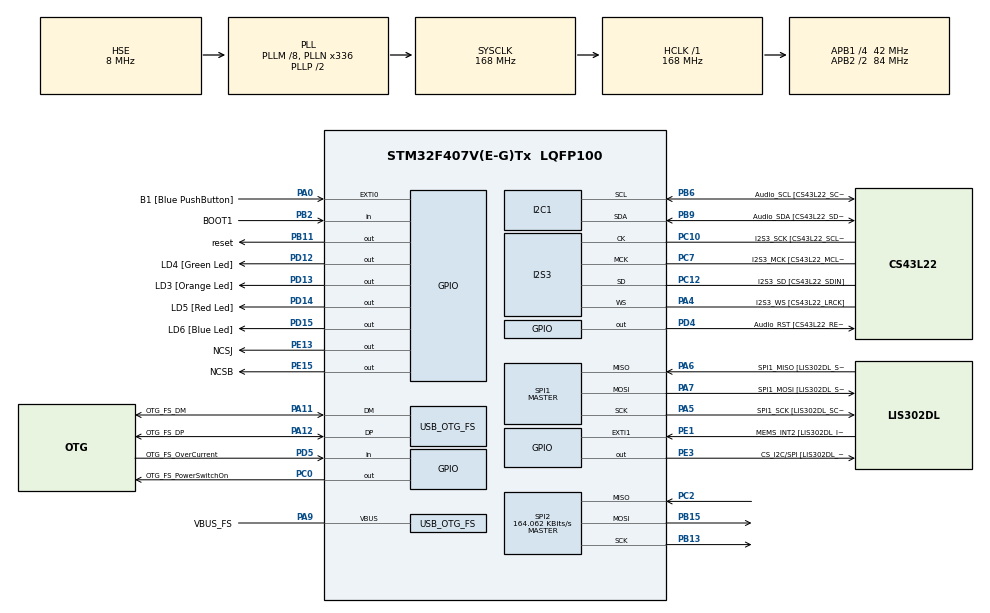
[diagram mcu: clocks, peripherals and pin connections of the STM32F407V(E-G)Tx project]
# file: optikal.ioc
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I2S3.AudioFreq-Half_Duplex_Master=I2S_AUDIOFREQ_96K
I2S3.ErrorAudioFreq=-2.34 %
I2S3.ErrorAudioFreq-Half_Duplex_Master=0.8 %
I2S3.FullDuplexMode=I2S_FULLDUPLEXMODE_DISABLE
I2S3.Instance=SPI$Index
I2S3.RealAudioFreq=93.75 KHz
I2S3.RealAudioFreq-Half_Duplex_Master=96.774 KHz
I2S3.VirtualMode=I2S_MODE_MASTER
Mcu.Family=STM32F4
Mcu.Name=STM32F407V(E-G)Tx
Mcu.Package=LQFP100
NVIC.OTG_FS_IRQn=true\:0\:0\:false\:false\:true\:true\:true
NVIC.PriorityGroup=NVIC_PRIORITYGROUP_0
PA0-WKUP.GPIO_Label=B1 [Blue PushButton]
PA0-WKUP.GPIO_ModeDefaultEXTI=GPIO_MODE_EVT_RISING
PA0-WKUP.GPIO_PuPd=GPIO_NOPULL
PA0-WKUP.Signal=GPXTI0
PA10.GPIO_Label=OTG_FS_ID
PA10.GPIO_Mode=GPIO_MODE_AF_PP
PA10.GPIO_PuPd=GPIO_NOPULL
PA10.GPIO_Speed=GPIO_SPEED_FREQ_LOW
PA10.Signal=USB_OTG_FS_ID
PA11.GPIO_Label=OTG_FS_DM
PA11.GPIO_Mode=GPIO_MODE_AF_PP
PA11.GPIO_PuPd=GPIO_NOPULL
PA11.GPIO_Speed=GPIO_SPEED_FREQ_LOW
PA11.Mode=Host_Only
PA11.Signal=USB_OTG_FS_DM
PA12.GPIO_Label=OTG_FS_DP
PA12.GPIO_Mode=GPIO_MODE_AF_PP
PA12.GPIO_PuPd=GPIO_NOPULL
PA12.GPIO_Speed=GPIO_SPEED_FREQ_LOW
PA12.Mode=Host_Only
PA12.Signal=USB_OTG_FS_DP
PA13.GPIO_Label=SWDIO
PA13.Mode=Serial_Wire
PA13.Signal=SYS_JTMS-SWDIO
PA14.GPIO_Label=SWCLK
PA14.Mode=Serial_Wire
PA14.Signal=SYS_JTCK-SWCLK
PA4.GPIO_Label=I2S3_WS [CS43L22_LRCK]
PA4.GPIO_Mode=GPIO_MODE_AF_PP
PA4.GPIO_PuPd=GPIO_NOPULL
PA4.GPIO_Speed=GPIO_SPEED_FREQ_LOW
PA4.Mode=Half_Duplex_Master
PA4.Signal=I2S3_WS
PA5.GPIO_Label=SPI1_SCK [LIS302DL_SCL/SPC]
PA5.GPIO_Mode=GPIO_MODE_AF_PP
PA5.GPIO_PuPd=GPIO_NOPULL
PA5.GPIO_Speed=GPIO_SPEED_FREQ_LOW
PA5.Mode=Full_Duplex_Master
PA5.Signal=SPI1_SCK
PA6.GPIO_Label=SPI1_MISO [LIS302DL_SDO]
PA6.GPIO_Mode=GPIO_MODE_AF_PP
PA6.GPIO_PuPd=GPIO_NOPULL
PA6.GPIO_Speed=GPIO_SPEED_FREQ_LOW
PA6.Mode=Full_Duplex_Master
PA6.Signal=SPI1_MISO
PA7.GPIO_Label=SPI1_MOSI [LIS302DL_SDA/SDI/SDO]
PA7.GPIO_Mode=GPIO_MODE_AF_PP
PA7.GPIO_PuPd=GPIO_NOPULL
PA7.GPIO_Speed=GPIO_SPEED_FREQ_LOW
PA7.Mode=Full_Duplex_Master
PA7.Signal=SPI1_MOSI
PA9.GPIO_Label=VBUS_FS
PA9.GPIO_Mode=GPIO_MODE_INPUT
PA9.GPIO_PuPd=GPIO_NOPULL
PA9.Mode=Activate_VBUS
PA9.Signal=USB_OTG_FS_VBUS
PB10.GPIO_Label=CLK_IN [MP45DT02_CLK]
PB10.GPIO_Mode=GPIO_MODE_AF_PP
PB10.GPIO_PuPd=GPIO_NOPULL
PB10.GPIO_Speed=GPIO_SPEED_FREQ_LOW
PB10.Signal=I2S2_CK
PB11.GPIO_Label=reset
PB11.Signal=GPIO_Output
PB13.GPIO_Speed=GPIO_SPEED_FREQ_LOW
PB13.Mode=Full_Duplex_Master
PB13.Signal=SPI2_SCK
PB15.GPIO_Speed=GPIO_SPEED_FREQ_LOW
PB15.Mode=Full_Duplex_Master
PB15.Signal=SPI2_MOSI
PB2.GPIO_Label=BOOT1
PB2.GPIO_Mode=GPIO_MODE_INPUT
PB2.GPIO_PuPd=GPIO_NOPULL
PB2.Signal=GPIO_Input
PB3.GPIO_Label=SWO
PB3.Signal=SYS_JTDO-SWO
PB6.GPIO_Label=Audio_SCL [CS43L22_SCL]
PB6.GPIO_Mode=GPIO_MODE_AF_OD
PB6.GPIO_PuPd=GPIO_NOPULL
PB6.GPIO_Speed=GPIO_SPEED_FREQ_LOW
PB6.Mode=I2C
PB6.Signal=I2C1_SCL
PB9.GPIO_Label=Audio_SDA [CS43L22_SDA]
PB9.GPIO_Mode=GPIO_MODE_AF_OD
PB9.GPIO_PuPd=GPIO_NOPULL
PB9.GPIO_Speed=GPIO_SPEED_FREQ_LOW
PB9.Mode=I2C
PB9.Signal=I2C1_SDA
PC0.GPIO_Label=OTG_FS_PowerSwitchOn
PC0.GPIO_PuPd=GPIO_NOPULL
PC0.GPIO_Speed=GPIO_SPEED_FREQ_LOW
PC0.PinState=GPIO_PIN_SET
PC0.Signal=GPIO_Output
PC10.GPIO_Label=I2S3_SCK [CS43L22_SCLK]
PC10.GPIO_Mode=GPIO_MODE_AF_PP
PC10.GPIO_PuPd=GPIO_NOPULL
PC10.GPIO_Speed=GPIO_SPEED_FREQ_LOW
PC10.Mode=Half_Duplex_Master
PC10.Signal=I2S3_CK
PC12.GPIO_Label=I2S3_SD [CS43L22_SDIN]
PC12.GPIO_Mode=GPIO_MODE_AF_PP
PC12.GPIO_PuPd=GPIO_NOPULL
PC12.GPIO_Speed=GPIO_SPEED_FREQ_LOW
PC12.Mode=Half_Duplex_Master
PC12.Signal=I2S3_SD
PC14-OSC32_IN.GPIO_Label=PC14-OSC32_IN
PC14-OSC32_IN.Mode=LSE-External-Oscillator
PC14-OSC32_IN.Signal=RCC_OSC32_IN
PC15-OSC32_OUT.GPIO_Label=PC15-OSC32_OUT
PC15-OSC32_OUT.Mode=LSE-External-Oscillator
PC15-OSC32_OUT.Signal=RCC_OSC32_OUT
PC2.GPIO_Speed=GPIO_SPEED_FREQ_LOW
PC2.Mode=Full_Duplex_Master
PC2.Signal=SPI2_MISO
PC3.GPIO_Label=PDM_OUT [MP45DT02_DOUT]
PC3.GPIO_Mode=GPIO_MODE_AF_PP
PC3.GPIO_PuPd=GPIO_NOPULL
PC3.GPIO_Speed=GPIO_SPEED_FREQ_LOW
PC3.Signal=I2S2_SD
PC7.GPIO_Label=I2S3_MCK [CS43L22_MCLK]
PC7.GPIO_Mode=GPIO_MODE_AF_PP
PC7.GPIO_PuPd=GPIO_NOPULL
PC7.GPIO_Speed=GPIO_SPEED_FREQ_LOW
PC7.Mode=Master_Clock_Activated
PC7.Signal=I2S3_MCK
PD12.GPIO_Label=LD4 [Green Led]
PD12.GPIO_PuPd=GPIO_NOPULL
PD12.GPIO_Speed=GPIO_SPEED_FREQ_LOW
PD12.Signal=GPIO_Output
PD13.GPIO_Label=LD3 [Orange Led]
PD13.GPIO_PuPd=GPIO_NOPULL
PD13.GPIO_Speed=GPIO_SPEED_FREQ_LOW
PD13.Signal=GPIO_Output
PD14.GPIO_Label=LD5 [Red Led]
PD14.GPIO_PuPd=GPIO_NOPULL
PD14.GPIO_Speed=GPIO_SPEED_FREQ_LOW
PD14.Signal=GPIO_Output
PD15.GPIO_Label=LD6 [Blue Led]
PD15.GPIO_PuPd=GPIO_NOPULL
PD15.GPIO_Speed=GPIO_SPEED_FREQ_LOW
PD15.Signal=GPIO_Output
PD4.GPIO_Label=Audio_RST [CS43L22_RESET]
PD4.GPIO_PuPd=GPIO_NOPULL
PD4.GPIO_Speed=GPIO_SPEED_FREQ_LOW
PD4.Signal=GPIO_Output
PD5.GPIO_Label=OTG_FS_OverCurrent
PD5.GPIO_Mode=GPIO_MODE_INPUT
PD5.GPIO_PuPd=GPIO_NOPULL
PD5.Signal=GPIO_Input
PE1.GPIO_Label=MEMS_INT2 [LIS302DL_INT2]
PE1.GPIO_ModeDefaultEXTI=GPIO_MODE_EVT_RISING
PE1.GPIO_PuPd=GPIO_NOPULL
PE1.Signal=GPXTI1
PE13.GPIO_Label=NCSJ
PE13.Signal=GPIO_Output
PE15.GPIO_Label=NCSB
PE15.Signal=GPIO_Output
PE3.GPIO_Label=CS_I2C/SPI [LIS302DL_CS_I2C/SPI]
PE3.GPIO_PuPd=GPIO_NOPULL
PE3.GPIO_Speed=GPIO_SPEED_FREQ_LOW
PE3.Signal=GPIO_Output
PH0-OSC_IN.GPIO_Label=PH0-OSC_IN
PH0-OSC_IN.Mode=HSE-External-Oscillator
PH0-OSC_IN.Signal=RCC_OSC_IN
PH1-OSC_OUT.GPIO_Label=PH1-OSC_OUT
PH1-OSC_OUT.Mode=HSE-External-Oscillator
PH1-OSC_OUT.Signal=RCC_OSC_OUT
ProjectManager.HeapSize=0x200
ProjectManager.StackSize=0x400
ProjectManager.TargetToolchain=SW4STM32
RCC.48MHZClocksFreq_Value=48000000
RCC.AHBFreq_Value=168000000
RCC.APB1CLKDivider=RCC_HCLK_DIV4
RCC.APB1Freq_Value=42000000
RCC.APB1TimFreq_Value=84000000
RCC.APB2CLKDivider=RCC_HCLK_DIV2
RCC.APB2Freq_Value=84000000
RCC.APB2TimFreq_Value=168000000
RCC.CortexFreq_Value=168000000
RCC.HCLKFreq_Value=168000000
RCC.HSE_VALUE=8000000
RCC.HSI_VALUE=16000000
RCC.PLLM=8
RCC.PLLN=336
RCC.PLLQ=7
RCC.SYSCLKFreq_VALUE=168000000
RCC.SYSCLKSource=RCC_SYSCLKSOURCE_PLLCLK
RCC.VCOOutputFreq_Value=336000000
SPI1.BaudRatePrescaler-Full_Duplex_Master=SPI_BAUDRATEPRESCALER_2
SPI1.CalculateBaudRate-Full_Duplex_Master=42.0 MBits/s
SPI1.Direction=SPI_DIRECTION_2LINES
SPI1.Mode=SPI_MODE_MASTER
SPI1.Mode-Full_Duplex_Master=SPI_MODE_MASTER
SPI1.VirtualType=VM_MASTER
SPI2.BaudRatePrescaler=SPI_BAUDRATEPRESCALER_256
SPI2.CalculateBaudRate=164.062 KBits/s
SPI2.Direction=SPI_DIRECTION_2LINES
SPI2.Mode=SPI_MODE_MASTER
SPI2.VirtualType=VM_MASTER
USB_HOST.BSP.number=1
USB_HOST.USBH_HandleTypeDef-CDC_FS=hUsbHostFS
USB_HOST.VirtualModeFS=Cdc
USB_HOST0.BSP.STBoard=false
USB_HOST0.BSP.api=Unknown
USB_HOST0.BSP.i2caddr=0
USB_HOST0.BSP.i2creg=0
USB_HOST0.BSP.instance=PC0
USB_HOST0.BSP.ip=GPIO
USB_HOST0.BSP.mode=Output
USB_HOST0.BSP.name=Drive_VBUS_FS
USB_HOST0.BSP.solution=PC0
USB_OTG_FS.VirtualMode=Host_Only
USB_OTG_FS.phy_itface=HCD_PHY_EMBEDDED
VP_USB_HOST_VS_USB_HOST_CDC_FS.Mode=CDC_FS
board=STM32F407G-DISC1

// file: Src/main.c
/* USER CODE BEGIN Header */
/**
  ******************************************************************************
  * @file           : main.c
  * @brief          : Main program body
  ******************************************************************************
  * @attention
  *
  * <h2><center>&copy; Copyright (c) 2019 STMicroelectronics.
  * All rights reserved.</center></h2>
  *
  * This software component is licensed by ST under Ultimate Liberty license
  * SLA0044, the "License"; You may not use this file except in compliance with
  * the License. You may obtain a copy of the License at:
  *                             www.st.com/SLA0044
  *
  ******************************************************************************
  */
/* USER CODE END Header */

#include "main.h"
#include "i2c.h"
#include "i2s.h"
#include "spi.h"
#include "usb_host.h"
#include "gpio.h"

/* USER CODE BEGIN Includes */
#include "ADNS3080.h"

uint8_t txdata[1]={0x00};/* ez nem kell*/
uint8_t rxdatab[7];       /*ebböl 2 kell*/
uint8_t rxdataj[7];
uint8_t txbuff[7]={ADNS3080_MOTION,ADNS3080_DELTA_X,ADNS3080_DELTA_Y,0x00,0x00,0x00,0x00};
uint8_t buff[7]={0x00,0x00,0x00,0x00,0x00,0x00,0x00};
uint8_t motion_burst[7];
volatile HAL_StatusTypeDef state;
int i=0;
float dX=0;
float dY=0;
float uart_txdata[2];
/*
uint8_t Rxdata[8];
uint8_t incr_X;
uint8_t incr_Y;

uint16_t CPI;
uint8_t uartTxBuffer[7];
*/
/* USER CODE BEGIN Includes */

/* USER CODE END Includes */

void SystemClock_Config(void);
void MX_USB_HOST_Process(void);

/* USER CODE BEGIN 0 */
/*
struct {
	float dx;
	float dy;

}uart_txdata;
*/
/* USER CODE END 0 */

int main(void)
{

  /* MCU Configuration--------------------------------------------------------*/

  /* Reset of all peripherals, Initializes the Flash interface and the Systick. */
  HAL_Init();

  /* Configure the system clock */
  SystemClock_Config();

  /* Initialize all configured peripherals */
  MX_GPIO_Init();
  MX_I2C1_Init();
  MX_I2S3_Init();
  MX_SPI1_Init();
  MX_USB_HOST_Init();
  MX_SPI2_Init();
  /* USER CODE BEGIN 2 */
  ADNS3080DownloadSROMB();
  HAL_Delay(5);
  ADNS3080DownloadSROMJ();
  /* USER CODE END 2 */

  /* Infinite loop */
  /* USER CODE BEGIN WHILE */
  while (1)
  {
        /*
		uartTxBuffer[0]=255;
		uartTxBuffer[1]=255;
		uartTxBuffer[2]=255;
		*/
        /*
	 //SROM uploaded
		HAL_GPIO_WritePin(GPIOE,GPIO_PIN_11,1); //LD7
//Motion burst
		HAL_GPIO_WritePin(ADNS3080_CS_PORT, ADNS3080_CS_PIN,0);
		my_delay();
		HAL_SPI_Transmit(&hspi2, txdata, 1, 10);
		my_delay();
		HAL_SPI_Receive(&hspi2, rxdata, 7, 10);
		my_delay();
		HAL_GPIO_WritePin(ADNS3080_CS_PORT, ADNS3080_CS_PIN,1);
		my_delay();

		ADNS3080MotionData.Motion=rxdata[0];
		ADNS3080MotionData.DeltaX=rxdata[1];
		ADNS3080MotionData.DeltaY=rxdata[2];
		ADNS3080MotionData.SQUAL=rxdata[3];
		ADNS3080MotionData.ShutterUpper=rxdata[4];
		ADNS3080MotionData.ShutterLower=rxdata[5];
		ADNS3080MotionData.MaximumPixel=rxdata[6];

		dX+=ADNS3080MotionData.DeltaX*0.0635;
		dY+=ADNS3080MotionData.DeltaY*0635;

		uart_txdata[0]=dX;
		uart_txdata[1]=dY;

		HAL_UART_Transmit(&huart2,uart_txdata,2,10);
        */
	      HAL_GPIO_WritePin(GPIOE,GPIO_PIN_15, GPIO_PIN_RESET);
	 	  HAL_Delay(5);
	 	  HAL_SPI_TransmitReceive(&hspi2, txbuff, rxdatab, 4, 10);
	 	  HAL_Delay(5);
	 	  HAL_GPIO_WritePin(GPIOE,GPIO_PIN_15, GPIO_PIN_SET);
	 	  HAL_Delay(10);
	 	  HAL_GPIO_WritePin(GPIOE,GPIO_PIN_13, GPIO_PIN_RESET);
	 	  HAL_Delay(5);
	 	  HAL_SPI_TransmitReceive(&hspi2, txbuff, rxdataj, 4, 10);
	 	  HAL_Delay(5);
	 	  HAL_GPIO_WritePin(GPIOE,GPIO_PIN_13, GPIO_PIN_SET);
	 	  HAL_Delay(10);
    /* USER CODE END WHILE */
    MX_USB_HOST_Process();

  }
}

void SystemClock_Config(void)
{
  RCC_OscInitTypeDef RCC_OscInitStruct = {0};
  RCC_ClkInitTypeDef RCC_ClkInitStruct = {0};
  RCC_PeriphCLKInitTypeDef PeriphClkInitStruct = {0};

  /** Configure the main internal regulator output voltage
  */
  __HAL_RCC_PWR_CLK_ENABLE();
  __HAL_PWR_VOLTAGESCALING_CONFIG(PWR_REGULATOR_VOLTAGE_SCALE1);
  /** Initializes the CPU, AHB and APB busses clocks
  */
  RCC_OscInitStruct.OscillatorType = RCC_OSCILLATORTYPE_HSE;
  RCC_OscInitStruct.HSEState = RCC_HSE_ON;
  RCC_OscInitStruct.PLL.PLLState = RCC_PLL_ON;
  RCC_OscInitStruct.PLL.PLLSource = RCC_PLLSOURCE_HSE;
  RCC_OscInitStruct.PLL.PLLM = 8;
  RCC_OscInitStruct.PLL.PLLN = 336;
  RCC_OscInitStruct.PLL.PLLP = RCC_PLLP_DIV2;
  RCC_OscInitStruct.PLL.PLLQ = 7;
  if (HAL_RCC_OscConfig(&RCC_OscInitStruct) != HAL_OK)
  {
    Error_Handler();
  }
  /** Initializes the CPU, AHB and APB busses clocks
  */
  RCC_ClkInitStruct.ClockType = RCC_CLOCKTYPE_HCLK|RCC_CLOCKTYPE_SYSCLK
                              |RCC_CLOCKTYPE_PCLK1|RCC_CLOCKTYPE_PCLK2;
  RCC_ClkInitStruct.SYSCLKSource = RCC_SYSCLKSOURCE_PLLCLK;
  RCC_ClkInitStruct.AHBCLKDivider = RCC_SYSCLK_DIV1;
  RCC_ClkInitStruct.APB1CLKDivider = RCC_HCLK_DIV4;
  RCC_ClkInitStruct.APB2CLKDivider = RCC_HCLK_DIV2;

  if (HAL_RCC_ClockConfig(&RCC_ClkInitStruct, FLASH_LATENCY_5) != HAL_OK)
  {
    Error_Handler();
  }
  PeriphClkInitStruct.PeriphClockSelection = RCC_PERIPHCLK_I2S;
  PeriphClkInitStruct.PLLI2S.PLLI2SN = 192;
  PeriphClkInitStruct.PLLI2S.PLLI2SR = 2;
  if (HAL_RCCEx_PeriphCLKConfig(&PeriphClkInitStruct) != HAL_OK)
  {
    Error_Handler();
  }
}

void Error_Handler(void)
{
}

/************************ (C) COPYRIGHT STMicroelectronics *****END OF FILE****/
